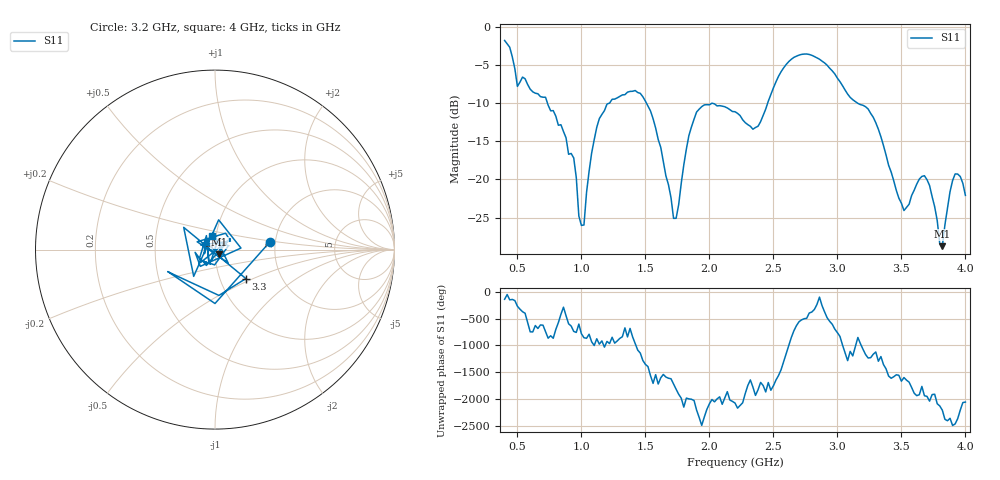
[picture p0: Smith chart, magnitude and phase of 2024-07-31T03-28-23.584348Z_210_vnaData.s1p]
!Created with skrf (http://scikit-rf.org).
# Hz S RI R 50.0
!freq ReS11 ImS11
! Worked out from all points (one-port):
!   181 points, 400 MHz to 4 GHz, reference 50 ohm
!   lowest |S11| = -28.8 dB at 3.82 GHz (marker M1), VSWR 1.08, Z = 52.5 - j2.81 ohm
!   |S11| at or under -10 dB: 735.3 MHz to 1.216 GHz (480.5 MHz wide, 49.3 % of centre); 1.509 GHz to 2.018 GHz (509.7 MHz wide, 28.9 % of centre); 3.159 GHz to end of sweep (the widest 3 of 4)
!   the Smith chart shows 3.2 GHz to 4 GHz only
!   S11 on the Smith chart (normalised r, x): 3.2 GHz: 1.86, +0.17; 3.3 GHz: 1.33, -0.45; 4 GHz: 0.95, +0.15
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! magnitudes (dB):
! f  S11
! 400 MHz  -1.7
! 500 MHz  -7.8
! 720 MHz  -9.2
! 860 MHz  -13.7
! 940 MHz  -17.2
! 980 MHz  -24.8
! 1.02 GHz  -26.0
! 1.12 GHz  -13.2
! 1.3 GHz  -9.1
! 1.5 GHz  -9.7
! 1.62 GHz  -15.8
! 1.72 GHz  -25.1
! 1.76 GHz  -23.3
! 1.84 GHz  -14.2
! 1.9 GHz  -11.1
! 2.2 GHz  -11.1
! 2.38 GHz  -13.0
! 2.66 GHz  -4.0
! 2.86 GHz  -4.2
! 3.1 GHz  -9.2
! 3.2 GHz  -10.3
! 3.3 GHz  -12.5
! 3.48 GHz  -22.4
! 3.56 GHz  -23.3
! 3.68 GHz  -19.5
! 3.82 GHz  -28.8
! 3.92 GHz  -19.3
! 4 GHz  -22.1
